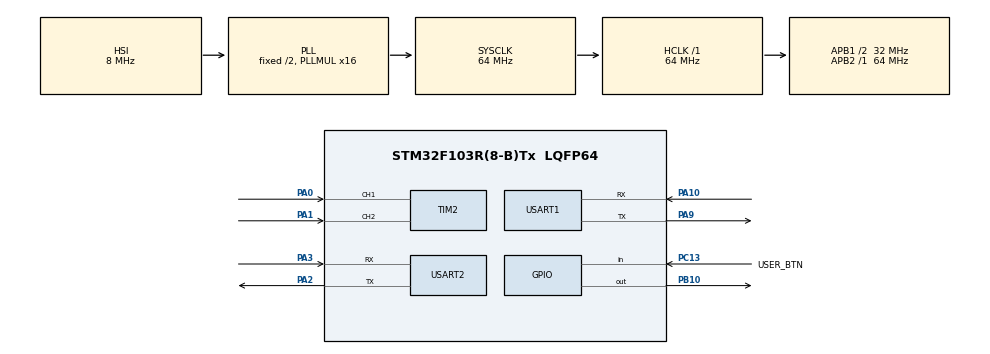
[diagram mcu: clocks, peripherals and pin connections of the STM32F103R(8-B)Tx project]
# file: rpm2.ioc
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Mcu.Family=STM32F1
Mcu.Name=STM32F103R(8-B)Tx
Mcu.Package=LQFP64
NVIC.PriorityGroup=NVIC_PRIORITYGROUP_4
PA0-WKUP.GPIO_PuPd=GPIO_PULLUP
PA0-WKUP.Signal=S_TIM2_CH1_ETR
PA1.GPIO_PuPd=GPIO_PULLUP
PA1.Signal=S_TIM2_CH2
PA10.Mode=Asynchronous
PA10.Signal=USART1_RX
PA13.Mode=Serial_Wire
PA13.Signal=SYS_JTMS-SWDIO
PA14.Mode=Serial_Wire
PA14.Signal=SYS_JTCK-SWCLK
PA2.Mode=Asynchronous
PA2.Signal=USART2_TX
PA3.Mode=Asynchronous
PA3.Signal=USART2_RX
PA9.Mode=Asynchronous
PA9.Signal=USART1_TX
PB10.Signal=GPIO_Output
PC13-TAMPER-RTC.GPIO_Label=USER_BTN
PC13-TAMPER-RTC.Signal=GPIO_Input
ProjectManager.HeapSize=0x200
ProjectManager.StackSize=0x400
ProjectManager.TargetToolchain=STM32CubeIDE
RCC.AHBFreq_Value=64000000
RCC.APB1CLKDivider=RCC_HCLK_DIV2
RCC.APB1Freq_Value=32000000
RCC.APB1TimFreq_Value=64000000
RCC.APB2Freq_Value=64000000
RCC.APB2TimFreq_Value=64000000
RCC.HCLKFreq_Value=64000000
RCC.PLLMUL=RCC_PLL_MUL16
RCC.RTCClockSelection=RCC_RTCCLKSOURCE_LSE
RCC.SYSCLKFreq_VALUE=64000000
RCC.SYSCLKSource=RCC_SYSCLKSOURCE_PLLCLK
RCC.USBFreq_Value=64000000
SH.S_TIM2_CH1_ETR.0=TIM2_CH1,Encoder_Interface
SH.S_TIM2_CH2.0=TIM2_CH2,Encoder_Interface
TIM2.EncoderMode=TIM_ENCODERMODE_TI12
USART1.VirtualMode=VM_ASYNC
USART2.VirtualMode=VM_ASYNC
board=NUCLEO-F103RB

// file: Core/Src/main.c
/* USER CODE BEGIN Header */
/**
  ******************************************************************************
  * @file           : main.c
  * @brief          : Main program body
  ******************************************************************************
  * @attention
  *
  * Copyright (c) 2026 STMicroelectronics.
  * All rights reserved.
  *
  * This software is licensed under terms that can be found in the LICENSE file
  * in the root directory of this software component.
  * If no LICENSE file comes with this software, it is provided AS-IS.
  *
  ******************************************************************************
  */
/* USER CODE END Header */
#include "main.h"
#include <stdio.h>
#include <math.h>

/* USER CODE BEGIN PD */
#define ENCODER_PPR             400.0f
#define ENCODER_X4              (ENCODER_PPR * 4.0f) // 1600 counts per rev
#define LOOP_TIME_SEC           0.01f                // 100 Hz control loo// --- HARDWARE FIXES ---
// Change to 1 if your motor runs away at 100% max speed
#define INVERT_ENCODER          0

/* USER CODE END PD */

TIM_HandleTypeDef htim2;
UART_HandleTypeDef huart1;
UART_HandleTypeDef huart2;

/* USER CODE BEGIN PV */
// Control Variables
float target_rpm = 60.0f;
uint8_t motor_armed = 0;
uint32_t prev_tick = 0;

// PID Memory
float pid_integral = 0.0f;
float pid_prev_error = 0.0f;
int16_t encoder_prev_count = 0;
/* USER CODE END PV */

void SystemClock_Config(void);
static void MX_GPIO_Init(void);
static void MX_USART2_UART_Init(void);
static void MX_TIM2_Init(void);
static void MX_USART1_UART_Init(void);
/* USER CODE BEGIN PFP */
float Get_Actual_RPM(void) {
    int16_t current_count = __HAL_TIM_GET_COUNTER(&htim2);
    int16_t delta = current_count - encoder_prev_count;
    encoder_prev_count = current_count;

    // Calculate base RPM
    float rpm = ((float)delta / ENCODER_X4) / LOOP_TIME_SEC * 60.0f;

    // Apply software polarity fix if necessary
    if (INVERT_ENCODER) {
        rpm = -rpm;
    }
    return rpm;
}

float Compute_PID(float target, float actual, float kp, float ki, float kd) {
    float error = target - actual;

    // Proportional
    float p_term = kp * error;

    // Integral (with anti-windup clamping)
    pid_integral += error * LOOP_TIME_SEC;
    float i_term = ki * pid_integral;

    // Derivative
    float derivative = (error - pid_prev_error) / LOOP_TIME_SEC;
    float d_term = kd * derivative;
    pid_prev_error = error;

    // Total Output
    float output = p_term + i_term + d_term;

    // Clamp output strictly to 0% - 100% (Forward Only)
    if (output > 100.0f) {
        output = 100.0f;
        pid_integral -= error * LOOP_TIME_SEC; // Prevent integral ballooning
    } else if (output < 0.0f) {
        output = 0.0f;
        pid_integral -= error * LOOP_TIME_SEC;
    }

    return output;
}

void Command_Motor(float power_percent) {
    // Map 0.0 - 100.0% to MDDS10 Motor 1 Range: 64 (Stop) to 127 (Full Forward)
    uint8_t cmd_byte = 64 + (uint8_t)((power_percent / 100.0f) * 63.0f);

    // Transmit via UART1 to Motor Driver
    HAL_UART_Transmit(&huart1, &cmd_byte, 1, 2);
}
/* USER CODE END PFP */

int main(void)
{

  /* MCU Configuration--------------------------------------------------------*/

  /* Reset of all peripherals, Initializes the Flash interface and the Systick. */
  HAL_Init();

  /* Configure the system clock */
  SystemClock_Config();

  /* Initialize all configured peripherals */
  MX_GPIO_Init();
  MX_USART2_UART_Init();
  MX_TIM2_Init();
  MX_USART1_UART_Init();
  /* USER CODE BEGIN 2 */
  HAL_TIM_Encoder_Start(&htim2, TIM_CHANNEL_ALL);
    printf("\r\n--- SYSTEM REBOOT ---\r\n");
    printf("Waiting for Blue Button to Arm Motor...\r\n");

    HAL_Delay(500); // Allow MDDS10 to stabilize
    prev_tick = HAL_GetTick();
  /* USER CODE END 2 */

  /* Infinite loop */
  /* USER CODE BEGIN WHILE */
  while (1)
  {

	  uint32_t current_tick = HAL_GetTick();

	        // Execute precisely every 10ms (100 Hz)
	        if ((current_tick - prev_tick) >= 10)
	        {
	            prev_tick = current_tick;

	            // 1. Check Safety Switch
	            if (HAL_GPIO_ReadPin(GPIOC, GPIO_PIN_13) == GPIO_PIN_RESET) {
	                motor_armed = 1;
	            }

	            // 2. Read Sensors
	            float current_rpm = Get_Actual_RPM();

	            // 3. Think & Act
	            if (motor_armed) {
	                // Using a gentle Kp=0.5, Ki=0.05, Kd=0.0 to start
	                float power_command = Compute_PID(target_rpm, current_rpm, 0.5f, 0.05f, 0.0f);
	                Command_Motor(power_command);
	            } else {
	                // Stay safe
	                Command_Motor(0.0f);
	                pid_integral = 0.0f; // Keep memory wiped while stopped
	            }

	            // 4. Telemetry (Print every loop)
	            printf("Armed: %d | Tgt: %5.1f | Act: %6.1f\r\n", motor_armed, target_rpm, current_rpm);
	        }
	    /* USER CODE END WHILE */
	    /* USER CODE BEGIN 3 */
	    }
}
void SystemClock_Config(void)
{
  RCC_OscInitTypeDef RCC_OscInitStruct = {0};
  RCC_ClkInitTypeDef RCC_ClkInitStruct = {0};

  /** Initializes the RCC Oscillators according to the specified parameters
  * in the RCC_OscInitTypeDef structure.
  */
  RCC_OscInitStruct.OscillatorType = RCC_OSCILLATORTYPE_HSI;
  RCC_OscInitStruct.HSIState = RCC_HSI_ON;
  RCC_OscInitStruct.HSICalibrationValue = RCC_HSICALIBRATION_DEFAULT;
  RCC_OscInitStruct.PLL.PLLState = RCC_PLL_ON;
  RCC_OscInitStruct.PLL.PLLSource = RCC_PLLSOURCE_HSI_DIV2;
  RCC_OscInitStruct.PLL.PLLMUL = RCC_PLL_MUL16;
  if (HAL_RCC_OscConfig(&RCC_OscInitStruct) != HAL_OK)
  {
    Error_Handler();
  }

  /** Initializes the CPU, AHB and APB buses clocks
  */
  RCC_ClkInitStruct.ClockType = RCC_CLOCKTYPE_HCLK|RCC_CLOCKTYPE_SYSCLK
                              |RCC_CLOCKTYPE_PCLK1|RCC_CLOCKTYPE_PCLK2;
  RCC_ClkInitStruct.SYSCLKSource = RCC_SYSCLKSOURCE_PLLCLK;
  RCC_ClkInitStruct.AHBCLKDivider = RCC_SYSCLK_DIV1;
  RCC_ClkInitStruct.APB1CLKDivider = RCC_HCLK_DIV2;
  RCC_ClkInitStruct.APB2CLKDivider = RCC_HCLK_DIV1;

  if (HAL_RCC_ClockConfig(&RCC_ClkInitStruct, FLASH_LATENCY_2) != HAL_OK)
  {
    Error_Handler();
  }
}

static void MX_TIM2_Init(void)
{

  TIM_Encoder_InitTypeDef sConfig = {0};
  TIM_MasterConfigTypeDef sMasterConfig = {0};

  htim2.Instance = TIM2;
  htim2.Init.Prescaler = 0;
  htim2.Init.CounterMode = TIM_COUNTERMODE_UP;
  htim2.Init.Period = 65535;
  htim2.Init.ClockDivision = TIM_CLOCKDIVISION_DIV1;
  htim2.Init.AutoReloadPreload = TIM_AUTORELOAD_PRELOAD_DISABLE;
  sConfig.EncoderMode = TIM_ENCODERMODE_TI12;
  sConfig.IC1Polarity = TIM_ICPOLARITY_RISING;
  sConfig.IC1Selection = TIM_ICSELECTION_DIRECTTI;
  sConfig.IC1Prescaler = TIM_ICPSC_DIV1;
  sConfig.IC1Filter = 0;
  sConfig.IC2Polarity = TIM_ICPOLARITY_RISING;
  sConfig.IC2Selection = TIM_ICSELECTION_DIRECTTI;
  sConfig.IC2Prescaler = TIM_ICPSC_DIV1;
  sConfig.IC2Filter = 0;
  if (HAL_TIM_Encoder_Init(&htim2, &sConfig) != HAL_OK)
  {
    Error_Handler();
  }
  sMasterConfig.MasterOutputTrigger = TIM_TRGO_RESET;
  sMasterConfig.MasterSlaveMode = TIM_MASTERSLAVEMODE_DISABLE;
  if (HAL_TIMEx_MasterConfigSynchronization(&htim2, &sMasterConfig) != HAL_OK)
  {
    Error_Handler();
  }

}

static void MX_USART1_UART_Init(void)
{

  huart1.Instance = USART1;
  huart1.Init.BaudRate = 115200;
  huart1.Init.WordLength = UART_WORDLENGTH_8B;
  huart1.Init.StopBits = UART_STOPBITS_1;
  huart1.Init.Parity = UART_PARITY_NONE;
  huart1.Init.Mode = UART_MODE_TX_RX;
  huart1.Init.HwFlowCtl = UART_HWCONTROL_NONE;
  huart1.Init.OverSampling = UART_OVERSAMPLING_16;
  if (HAL_UART_Init(&huart1) != HAL_OK)
  {
    Error_Handler();
  }

}

static void MX_USART2_UART_Init(void)
{

  huart2.Instance = USART2;
  huart2.Init.BaudRate = 115200;
  huart2.Init.WordLength = UART_WORDLENGTH_8B;
  huart2.Init.StopBits = UART_STOPBITS_1;
  huart2.Init.Parity = UART_PARITY_NONE;
  huart2.Init.Mode = UART_MODE_TX_RX;
  huart2.Init.HwFlowCtl = UART_HWCONTROL_NONE;
  huart2.Init.OverSampling = UART_OVERSAMPLING_16;
  if (HAL_UART_Init(&huart2) != HAL_OK)
  {
    Error_Handler();
  }

}

static void MX_GPIO_Init(void)
{
  GPIO_InitTypeDef GPIO_InitStruct = {0};

  /* GPIO Ports Clock Enable */
  __HAL_RCC_GPIOC_CLK_ENABLE();
  __HAL_RCC_GPIOA_CLK_ENABLE();
  __HAL_RCC_GPIOB_CLK_ENABLE();

  /*Configure GPIO pin Output Level */
  HAL_GPIO_WritePin(GPIOB, GPIO_PIN_10, GPIO_PIN_RESET);

  /*Configure GPIO pin : USER_BTN_Pin */
  GPIO_InitStruct.Pin = USER_BTN_Pin;
  GPIO_InitStruct.Mode = GPIO_MODE_INPUT;
  GPIO_InitStruct.Pull = GPIO_NOPULL;
  HAL_GPIO_Init(USER_BTN_GPIO_Port, &GPIO_InitStruct);

  /*Configure GPIO pin : PB10 */
  GPIO_InitStruct.Pin = GPIO_PIN_10;
  GPIO_InitStruct.Mode = GPIO_MODE_OUTPUT_PP;
  GPIO_InitStruct.Pull = GPIO_NOPULL;
  GPIO_InitStruct.Speed = GPIO_SPEED_FREQ_LOW;
  HAL_GPIO_Init(GPIOB, &GPIO_InitStruct);

}

/* USER CODE BEGIN 4 */
/* USER CODE BEGIN 4 */

// Retargets the C library printf function to the USART2 port
#ifdef __GNUC__
  #define PUTCHAR_PROTOTYPE int __io_putchar(int ch)
#else
  #define PUTCHAR_PROTOTYPE int fputc(int ch, FILE *f)
#endif

PUTCHAR_PROTOTYPE
{
  // Send the character out over USART2 (to your PC)
  HAL_UART_Transmit(&huart2, (uint8_t *)&ch, 1, HAL_MAX_DELAY);
  return ch;
}

/* USER CODE END 4 */

void Error_Handler(void)
{
  __disable_irq();
  while (1)
  {
  }
}
